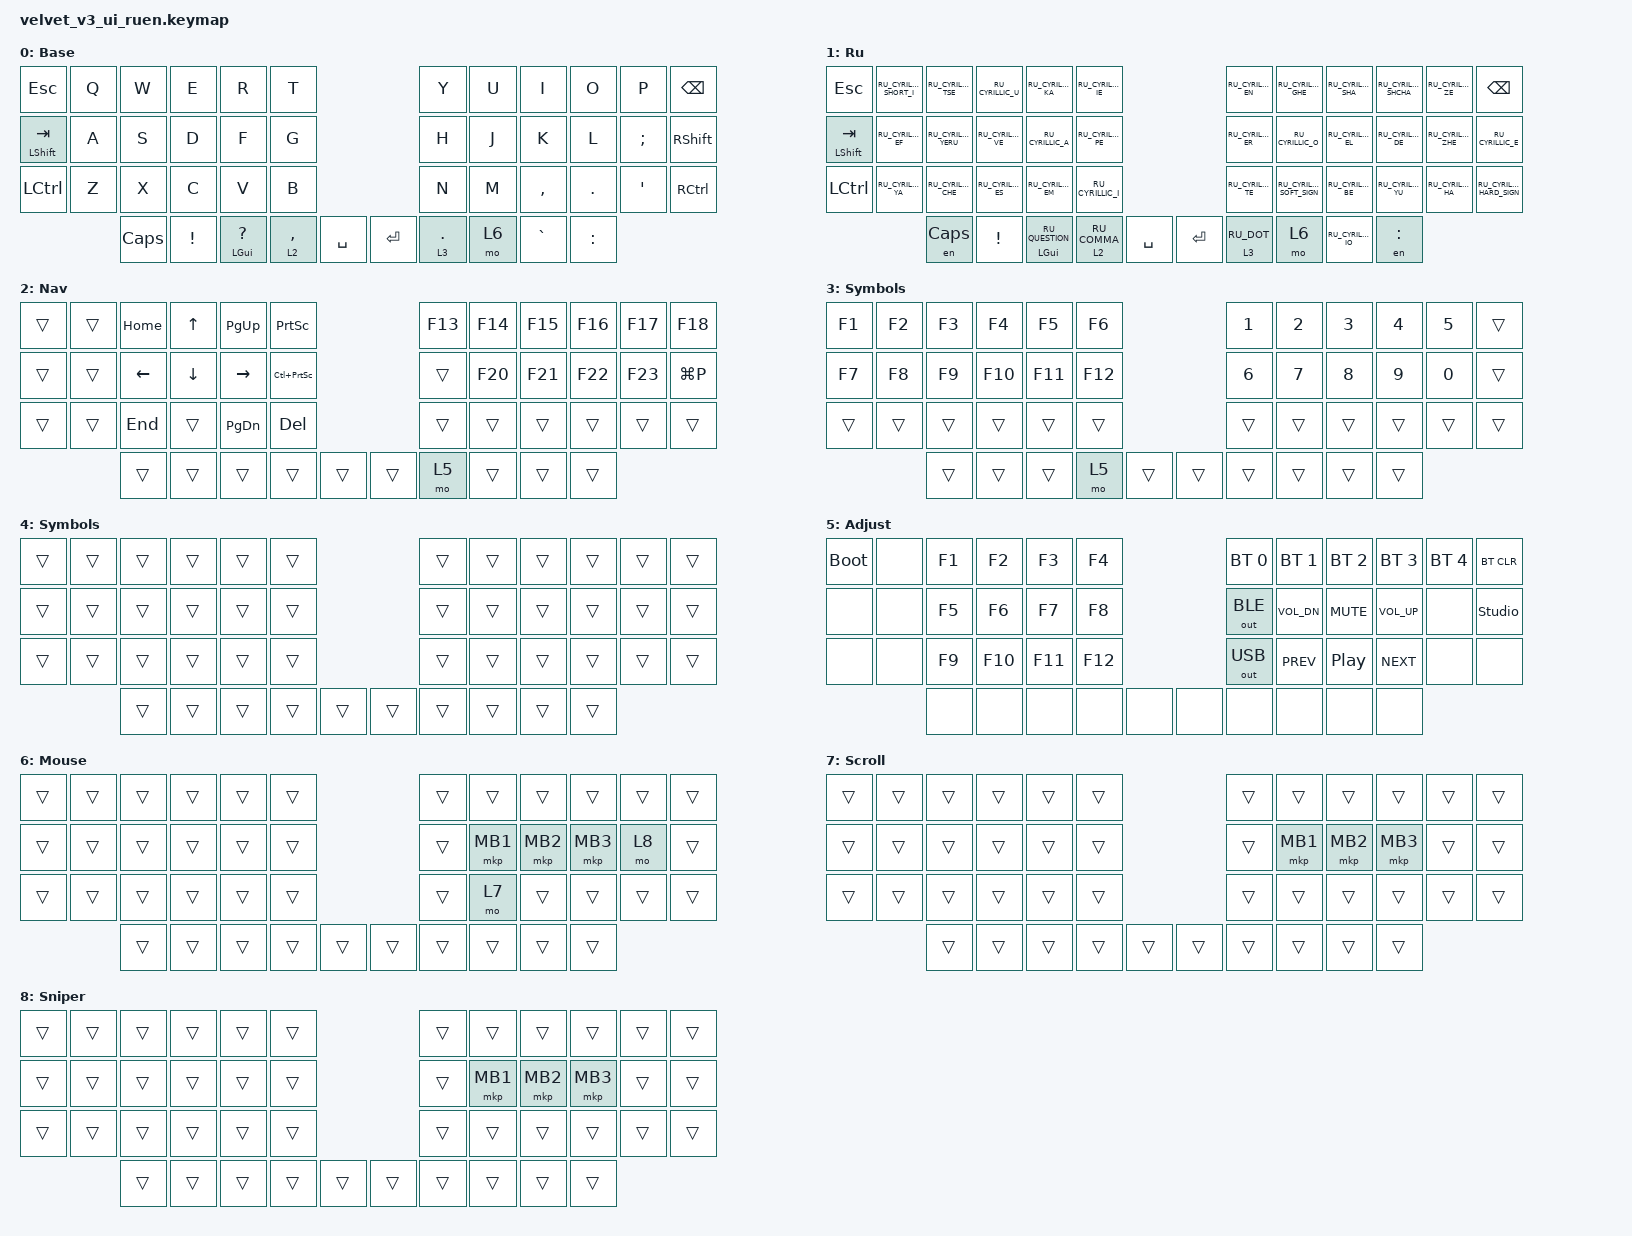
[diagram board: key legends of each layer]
#include "keys_ru.h"
#include <dt-bindings/zmk/input_transform.h>
#include <input/processors.dtsi>
#include <zephyr/dt-bindings/input/input-event-codes.h>
#include <behaviors.dtsi>
#include <dt-bindings/zmk/bt.h>
#include <dt-bindings/zmk/keys.h>
#include <dt-bindings/zmk/outputs.h>
#include <dt-bindings/zmk/pointing.h>

/ {
    behaviors {
        cap_sen: cap_sen {
            compatible = "zmk,behavior-hold-tap";
            label = "CAP_SEN";
            bindings = <&mo>, <&mkp>;

            #binding-cells = <2>;
            tapping-term-ms = <150>;
            hold-while-undecided;
        };

        mouse_layer: mouse_layer {
            compatible = "zmk,behavior-sticky-key";
            label = "MOUSE_LAYER";
            bindings = <&mo>;
            #binding-cells = <1>;
            release-after-ms = <200>;
        };

        zip_auto_mouse: zip_auto_mouse {
            compatible = "zmk,input-processor-temp-layer";
            #input-processor-cells = <2>;
            require-prior-idle-ms = <800>;
            excluded-positions = <>;
        };
    };

    combos {
        compatible = "zmk,combos";

        switch_to_ru {
            bindings = <&layer_ru>;
            key-positions = <1 0>;
        };

        switch_to_en {
            bindings = <&layer_en>;
            key-positions = <10 11>;
        };

        left_bracket_en {
            bindings = <&kp LEFT_BRACKET>;
            key-positions = <5 4>;
            layers = <0>;
        };

        left_bracket_ru {
            bindings = <&en LEFT_BRACKET>;
            key-positions = <5 4>;
            layers = <1>;
        };

        right_bracket_en {
            bindings = <&kp RIGHT_BRACKET>;
            key-positions = <6 7>;
            layers = <0>;
        };

        right_bracket_ru {
            bindings = <&en RIGHT_BRACKET>;
            key-positions = <6 7>;
            layers = <1>;
        };

        left_parenthesis {
            bindings = <&kp LEFT_PARENTHESIS>;
            key-positions = <17 16>;
        };

        right_parenthesis {
            bindings = <&kp RIGHT_PARENTHESIS>;
            key-positions = <18 19>;
        };

        left_brace_en {
            bindings = <&kp LEFT_BRACE>;
            key-positions = <29 28>;
            layers = <0>;
        };

        left_brace_ru {
            bindings = <&en LEFT_BRACE>;
            key-positions = <29 28>;
            layers = <1>;
        };

        right_brace_en {
            bindings = <&kp RIGHT_BRACE>;
            key-positions = <30 31>;
            layers = <0>;
        };

        right_brace_ru {
            bindings = <&en RIGHT_BRACE>;
            key-positions = <31 30>;
            layers = <1>;
        };

        plus {
            bindings = <&kp PLUS>;
            key-positions = <3 4>;
        };

        minus {
            bindings = <&kp MINUS>;
            key-positions = <7 8>;
        };

        equal {
            bindings = <&kp EQUAL>;
            key-positions = <15 16>;
        };

        underscore {
            bindings = <&kp UNDERSCORE>;
            key-positions = <19 20>;
        };

        double_quote_en {
            bindings = <&kp DOUBLE_QUOTES>;
            key-positions = <27 28>;
            layers = <0>;
        };

        double_quote_ru {
            bindings = <&en DOUBLE_QUOTES>;
            key-positions = <27 28>;
            layers = <1>;
        };

        single_quote_en {
            bindings = <&kp SINGLE_QUOTE>;
            key-positions = <31 32>;
            layers = <0>;
        };

        single_quote_ru {
            bindings = <&en SINGLE_QUOTE>;
            key-positions = <31 32>;
            layers = <1>;
        };

        caret_en {
            bindings = <&kp CARET>;
            key-positions = <2 3>;
            layers = <0>;
        };

        caret_ru {
            bindings = <&en CARET>;
            key-positions = <3 2>;
            layers = <1>;
        };

        dollar_en {
            bindings = <&kp DOLLAR>;
            key-positions = <8 9>;
            layers = <0>;
        };

        dollar_ru {
            bindings = <&en DOLLAR>;
            key-positions = <8 9>;
            layers = <1>;
        };

        percent {
            bindings = <&kp PERCENT>;
            key-positions = <37 36>;
        };

        hash_en {
            bindings = <&kp HASH>;
            key-positions = <44 45>;
            layers = <0>;
        };

        hash_ru {
            bindings = <&en HASH>;
            key-positions = <44 45>;
            layers = <1>;
        };

        dog_en {
            bindings = <&kp AT_SIGN>;
            key-positions = <26 27>;
            layers = <0>;
        };

        dog_ru {
            bindings = <&en AT_SIGN>;
            key-positions = <26 27>;
            layers = <1>;
        };

        ampersand_en {
            bindings = <&kp AMPERSAND>;
            key-positions = <32 33>;
            layers = <0>;
        };

        ampersand_ru {
            bindings = <&en AMPERSAND>;
            key-positions = <32 33>;
            layers = <1>;
        };

        backslash_en {
            bindings = <&kp BACKSLASH>;
            key-positions = <14 15>;
            layers = <0>;
        };

        backslash_ru {
            bindings = <&en BACKSLASH>;
            key-positions = <14 15>;
            layers = <1>;
        };

        slash_en {
            bindings = <&kp SLASH>;
            key-positions = <20 21>;
            layers = <0>;
        };

        slash_ru {
            bindings = <&en SLASH>;
            key-positions = <20 21>;
            layers = <1>;
        };

        tilde_en {
            bindings = <&kp TILDE>;
            key-positions = <2 1>;
            layers = <0>;
        };

        tilde_ru {
            bindings = <&en TILDE>;
            key-positions = <2 1>;
            layers = <1>;
        };

        pipe_en {
            bindings = <&kp PIPE>;
            key-positions = <9 10>;
            layers = <0>;
        };

        pipe_ru {
            bindings = <&en PIPE>;
            key-positions = <9 10>;
            layers = <1>;
        };

        less_then_en {
            bindings = <&kp LESS_THAN>;
            key-positions = <14 13>;
            layers = <0>;
        };

        less_then_ru {
            bindings = <&en LESS_THAN>;
            key-positions = <14 13>;
            layers = <1>;
        };

        greater_then_en {
            bindings = <&kp GREATER_THAN>;
            key-positions = <21 22>;
            layers = <0>;
        };

        greater_then_ru {
            bindings = <&en GREATER_THAN>;
            key-positions = <21 22>;
            layers = <1>;
        };

        grave_en {
            bindings = <&kp GRAVE>;
            key-positions = <34 35>;
            layers = <0>;
        };

        grave_ru {
            bindings = <&en GRAVE>;
            key-positions = <34 35>;
            layers = <1>;
        };

        alt {
            bindings = <&kp LEFT_ALT>;
            key-positions = <25 24>;
        };

        shift+tab {
            bindings = <&kp LS(TAB)>;
            key-positions = <25 26>;
        };
    };

    macros {
        to_ru: to_ru {
            compatible = "zmk,behavior-macro";
            #binding-cells = <0>;
            bindings = <&kp LS(LC(N2))>;
            label = "TO_RU";
            wait-ms = <0>;
            tap-ms = <30>;
        };

        to_en: to_en {
            compatible = "zmk,behavior-macro";
            #binding-cells = <0>;
            bindings = <&kp LS(LC(N1))>;
            label = "TO_EN";
            wait-ms = <0>;
            tap-ms = <30>;
        };

        layer_en: layer_en {
            compatible = "zmk,behavior-macro";
            #binding-cells = <0>;
            bindings = <&to 0 &to_en>;
            label = "LAYER_EN";
            wait-ms = <0>;
            tap-ms = <30>;
        };

        layer_ru: layer_ru {
            compatible = "zmk,behavior-macro";
            #binding-cells = <0>;
            bindings = <&to 1 &to_ru>;
            label = "LAYER_RU";
            tap-ms = <30>;
            wait-ms = <0>;
        };

        en: en {
            compatible = "zmk,behavior-macro-one-param";
            #binding-cells = <1>;
            bindings =
                <&to_en>,
                <&macro_press>,
                <&macro_param_1to1 &kp MACRO_PLACEHOLDER>,
                <&macro_pause_for_release>,
                <&macro_release>,
                <&macro_param_1to1 &kp MACRO_PLACEHOLDER>,
                <&macro_tap>,
                <&to_ru>;

            label = "EN";
            wait-ms = <0>;
            tap-ms = <30>;
        };
    };

    keymap {
        compatible = "zmk,keymap";

        en {
            bindings = <
&kp ESC             &kp Q  &kp W         &kp E            &kp R              &kp T                              &kp Y      &kp U  &kp I      &kp O      &kp P     &kp BSPC
&mt LEFT_SHIFT TAB  &kp A  &kp S         &kp D            &kp F              &kp G                              &kp H      &kp J  &kp K      &kp L      &kp SEMI  &kp RIGHT_SHIFT
&kp LCTRL           &kp Z  &kp X         &kp C            &kp V              &kp B                              &kp N      &kp M  &kp COMMA  &kp DOT    &kp SQT   &kp RCTRL
                           &kp CAPSLOCK  &kp EXCLAMATION  &mt LGUI QUESTION  &lt 2 COMMA  &kp SPACE    &kp RET  &lt 3 DOT  &mo 6  &kp GRAVE  &kp COLON
            >;

            display-name = "Base";
        };

        ru {
            display-name = "Ru";
            bindings = <
&kp ESC             &kp RU_CYRILLIC_SHORT_I  &kp RU_CYRILLIC_TSE   &kp RU_CYRILLIC_U   &kp RU_CYRILLIC_KA    &kp RU_CYRILLIC_IE                        &kp RU_CYRILLIC_EN  &kp RU_CYRILLIC_GHE        &kp RU_CYRILLIC_SHA  &kp RU_CYRILLIC_SHCHA  &kp RU_CYRILLIC_ZE   &kp BSPC
&mt LEFT_SHIFT TAB  &kp RU_CYRILLIC_EF       &kp RU_CYRILLIC_YERU  &kp RU_CYRILLIC_VE  &kp RU_CYRILLIC_A     &kp RU_CYRILLIC_PE                        &kp RU_CYRILLIC_ER  &kp RU_CYRILLIC_O          &kp RU_CYRILLIC_EL   &kp RU_CYRILLIC_DE     &kp RU_CYRILLIC_ZHE  &kp RU_CYRILLIC_E
&kp LCTRL           &kp RU_CYRILLIC_YA       &kp RU_CYRILLIC_CHE   &kp RU_CYRILLIC_ES  &kp RU_CYRILLIC_EM    &kp RU_CYRILLIC_I                         &kp RU_CYRILLIC_TE  &kp RU_CYRILLIC_SOFT_SIGN  &kp RU_CYRILLIC_BE   &kp RU_CYRILLIC_YU     &kp RU_CYRILLIC_HA   &kp RU_CYRILLIC_HARD_SIGN
                                             &en CAPSLOCK          &kp EXCLAMATION     &mt LGUI RU_QUESTION  &lt 2 RU_COMMA      &kp SPACE    &kp RET  &lt 3 RU_DOT        &mo 6                      &kp RU_CYRILLIC_IO   &en COLON
            >;
        };

        nav {
            bindings = <
&trans  &trans  &kp HOME  &kp UP    &kp PG_UP      &kp PSCRN                        &kp F13  &kp F14  &kp F15  &kp F16  &kp F17  &kp F18
&trans  &trans  &kp LEFT  &kp DOWN  &kp RIGHT      &kp LC(PSCRN)                    &trans   &kp F20  &kp F21  &kp F22  &kp F23  &kp LG(P)
&trans  &trans  &kp END   &trans    &kp PAGE_DOWN  &kp DEL                          &trans   &trans   &trans   &trans   &trans   &trans
                &trans    &trans    &trans         &trans         &trans    &trans  &mo 5    &trans   &trans   &trans
            >;

            display-name = "Nav";
        };

        sym_en {
            bindings = <
&kp F1  &kp F2  &kp F3  &kp F4   &kp F5   &kp F6                     &kp NUMBER_1  &kp NUMBER_2  &kp NUMBER_3  &kp NUMBER_4  &kp NUMBER_5  &trans
&kp F7  &kp F8  &kp F9  &kp F10  &kp F11  &kp F12                    &kp NUMBER_6  &kp NUMBER_7  &kp NUMBER_8  &kp NUMBER_9  &kp NUMBER_0  &trans
&trans  &trans  &trans  &trans   &trans   &trans                     &trans        &trans        &trans        &trans        &trans        &trans
                &trans  &trans   &trans   &mo 5    &trans    &trans  &trans        &trans        &trans        &trans
            >;

            display-name = "Symbols";
        };

        sym_ru {
            display-name = "Symbols";
            bindings = <
&trans  &trans  &trans  &trans  &trans  &trans                    &trans  &trans  &trans  &trans  &trans  &trans
&trans  &trans  &trans  &trans  &trans  &trans                    &trans  &trans  &trans  &trans  &trans  &trans
&trans  &trans  &trans  &trans  &trans  &trans                    &trans  &trans  &trans  &trans  &trans  &trans
                &trans  &trans  &trans  &trans  &trans    &trans  &trans  &trans  &trans  &trans
            >;
        };

        adj {
            bindings = <
&bootloader  &none  &kp F1  &kp F2   &kp F3   &kp F4                   &bt BT_SEL 0  &bt BT_SEL 1  &bt BT_SEL 2      &bt BT_SEL 3  &bt BT_SEL 4  &bt BT_CLR
&none        &none  &kp F5  &kp F6   &kp F7   &kp F8                   &out OUT_BLE  &kp C_VOL_DN  &kp C_MUTE        &kp C_VOL_UP  &none         &studio_unlock
&none        &none  &kp F9  &kp F10  &kp F11  &kp F12                  &out OUT_USB  &kp C_PREV    &kp C_PLAY_PAUSE  &kp C_NEXT    &none         &none
                    &none   &none    &none    &none    &none    &none  &none         &none         &none             &none
            >;

            display-name = "Adjust";
        };

        mouse {
            bindings = <
&trans  &trans  &trans  &trans  &trans  &trans                    &trans  &trans    &trans    &trans    &trans  &trans
&trans  &trans  &trans  &trans  &trans  &trans                    &trans  &mkp MB1  &mkp MB2  &mkp MB3  &mo 8   &trans
&trans  &trans  &trans  &trans  &trans  &trans                    &trans  &mo 7     &trans    &trans    &trans  &trans
                &trans  &trans  &trans  &trans  &trans    &trans  &trans  &trans    &trans    &trans
            >;

            display-name = "Mouse";
        };

        scroll {
            bindings = <
&trans  &trans  &trans  &trans  &trans  &trans                    &trans  &trans    &trans    &trans    &trans  &trans
&trans  &trans  &trans  &trans  &trans  &trans                    &trans  &mkp MB1  &mkp MB2  &mkp MB3  &trans  &trans
&trans  &trans  &trans  &trans  &trans  &trans                    &trans  &trans    &trans    &trans    &trans  &trans
                &trans  &trans  &trans  &trans  &trans    &trans  &trans  &trans    &trans    &trans
            >;

            display-name = "Scroll";
        };

        sniper {
            bindings = <
&trans  &trans  &trans  &trans  &trans  &trans                    &trans  &trans    &trans    &trans    &trans  &trans
&trans  &trans  &trans  &trans  &trans  &trans                    &trans  &mkp MB1  &mkp MB2  &mkp MB3  &trans  &trans
&trans  &trans  &trans  &trans  &trans  &trans                    &trans  &trans    &trans    &trans    &trans  &trans
                &trans  &trans  &trans  &trans  &trans    &trans  &trans  &trans    &trans    &trans
            >;

            display-name = "Sniper";
        };
    };
};

&trackball { cpi = <1000>; };

&trackball_listener {
    input-processors = <&zip_auto_mouse 6 500>, <&zip_xy_scaler 9 20>;

    scroller {
        layers = <7>;
        input-processors =
            <&zip_xy_transform INPUT_TRANSFORM_Y_INVERT>,
            <&zip_xy_scaler 1 32>,
            <&zip_xy_to_scroll_mapper>;
    };

    sniper {
        layers = <8>;
        input-processors = <&zip_xy_scaler 1 4>;
    };
};
